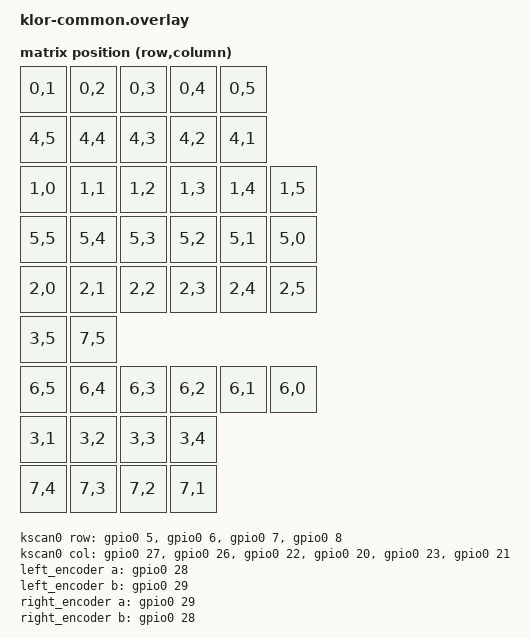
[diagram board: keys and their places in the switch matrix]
/*
 * BeeKeeb KLOR rev1.3 + Sea-Picro RP2040.
 * Sea-Picro's legacy Pro Micro I/O pinout matches SparkFun Pro Micro RP2040.
 */
#include <dt-bindings/zmk/matrix_transform.h>
#include <zephyr/dt-bindings/gpio/gpio.h>
#include <zephyr/dt-bindings/pinctrl/rpi-pico-rp2040-pinctrl.h>

&uart0 { status = "disabled"; };
&i2c1 { status = "disabled"; };
&spi0 { status = "disabled"; };
&adc { status = "disabled"; };

&pinctrl {
    klor_split_uart_default: klor_split_uart_default {
        data_pins {
            /* KLOR D2 -> Sea-Picro RP2040 GP1. */
            pinmux = <PIO1_P1>;
            input-enable;
            bias-pull-up;
        };
    };
};

&pio1 {
    status = "okay";

    klor_split_uart: uart {
        compatible = "zmk,uart-rp2040-pio-half-duplex";
        status = "okay";
        current-speed = <19200>;
        pinctrl-0 = <&klor_split_uart_default>;
        pinctrl-names = "default";
    };
};

&gpio0 {
    klor_trrs_rx_guard {
        gpio-hog;
        /* KLOR D4/RX -> GP4. TRS bridges RX+TX; never drive this pad. */
        gpios = <4 GPIO_ACTIVE_HIGH>;
        input;
        line-name = "KLOR TRRS RX guard";
    };
};

/ {
    chosen {
        zmk,kscan = &kscan0;
        zmk,matrix-transform = &klor_transform;
    };

    klor_transform: keymap_transform_0 {
        compatible = "zmk,matrix-transform";
        rows = <8>;
        columns = <6>;
        map = <
            RC(0,1) RC(0,2) RC(0,3) RC(0,4) RC(0,5)
            RC(4,5) RC(4,4) RC(4,3) RC(4,2) RC(4,1)

            RC(1,0) RC(1,1) RC(1,2) RC(1,3) RC(1,4) RC(1,5)
            RC(5,5) RC(5,4) RC(5,3) RC(5,2) RC(5,1) RC(5,0)

            RC(2,0) RC(2,1) RC(2,2) RC(2,3) RC(2,4) RC(2,5)
            RC(3,5) RC(7,5)
            RC(6,5) RC(6,4) RC(6,3) RC(6,2) RC(6,1) RC(6,0)

            RC(3,1) RC(3,2) RC(3,3) RC(3,4)
            RC(7,4) RC(7,3) RC(7,2) RC(7,1)
        >;
    };

    kscan0: kscan {
        compatible = "zmk,kscan-gpio-matrix";
        wakeup-source;
        diode-direction = "col2row";

        row-gpios
            = <&gpio0 5 (GPIO_ACTIVE_HIGH | GPIO_PULL_DOWN)>
            , <&gpio0 6 (GPIO_ACTIVE_HIGH | GPIO_PULL_DOWN)>
            , <&gpio0 7 (GPIO_ACTIVE_HIGH | GPIO_PULL_DOWN)>
            , <&gpio0 8 (GPIO_ACTIVE_HIGH | GPIO_PULL_DOWN)>
            ;

        col-gpios
            = <&gpio0 27 GPIO_ACTIVE_HIGH>
            , <&gpio0 26 GPIO_ACTIVE_HIGH>
            , <&gpio0 22 GPIO_ACTIVE_HIGH>
            , <&gpio0 20 GPIO_ACTIVE_HIGH>
            , <&gpio0 23 GPIO_ACTIVE_HIGH>
            , <&gpio0 21 GPIO_ACTIVE_HIGH>
            ;
    };

    left_encoder: encoder_left {
        compatible = "alps,ec11";
        a-gpios = <&gpio0 28 (GPIO_ACTIVE_HIGH | GPIO_PULL_UP)>;
        b-gpios = <&gpio0 29 (GPIO_ACTIVE_HIGH | GPIO_PULL_UP)>;
        steps = <40>;
        status = "disabled";
    };

    right_encoder: encoder_right {
        compatible = "alps,ec11";
        a-gpios = <&gpio0 29 (GPIO_ACTIVE_HIGH | GPIO_PULL_UP)>;
        b-gpios = <&gpio0 28 (GPIO_ACTIVE_HIGH | GPIO_PULL_UP)>;
        steps = <40>;
        status = "disabled";
    };

    sensors: sensors {
        compatible = "zmk,keymap-sensors";
        sensors = <&left_encoder &right_encoder>;
        triggers-per-rotation = <20>;
    };

    wired_split {
        compatible = "zmk,wired-split";
        device = <&klor_split_uart>;
        half-duplex;
    };
};
